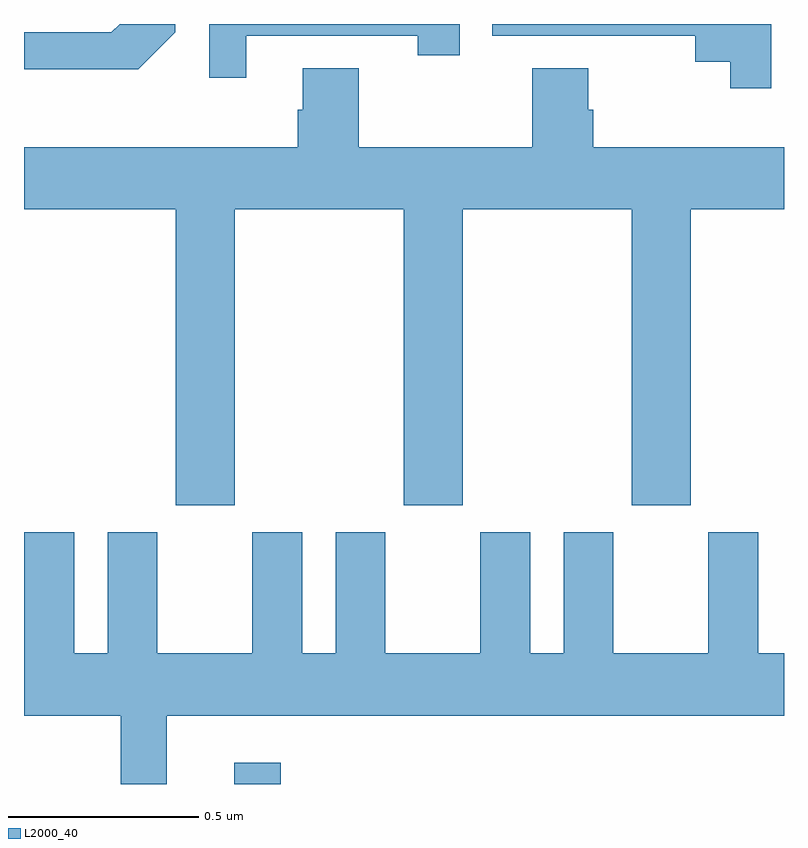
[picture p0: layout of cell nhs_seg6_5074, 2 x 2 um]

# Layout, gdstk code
import gdstk
lib = gdstk.Library(unit=1e-6, precision=1e-09)
def R(c, l, rs):  # rectangles x0, y0, x1, y1
    for r in rs: c.add(gdstk.rectangle(r[:2], r[2:], *l))
def P(c, l, *ps):  # polygons
    for p in ps: c.add(gdstk.Polygon(p, *l))
L2000_40 = (2000, 40)

nhs_seg6_5074 = lib.new_cell('nhs_seg6_5074')
R(nhs_seg6_5074, L2000_40, [(178.553,936.5,178.675,936.556)])
P(nhs_seg6_5074, L2000_40, [(178.398,938.478),(178.398,938.5),(178.252,938.5),(178.23,938.478),(178,938.478),(178,938.381),(178.3,938.381)],
  [(178.585,938.469),(179.036,938.469),(179.036,938.418),(179.147,938.418),(179.147,938.5),(178.488,938.5),(178.488,938.358),(178.585,938.358)],
  [(179.967,938.499),(179.862,938.499),(179.862,938.5),(179.232,938.5),(179.232,938.469),(179.766,938.469),(179.766,938.401),(179.859,938.401),(179.859,938.331),(179.967,938.331)],
  [(178.554,938.012),(178.999,938.012),(178.999,937.233),(179.154,937.233),(179.154,938.012),(179.599,938.012),(179.599,937.233),(179.754,937.233),(179.754,938.012),(180,938.012),(180,938.176),(179.498,938.176),(179.498,938.274),(179.485,938.274),(179.485,938.384),(179.338,938.384),(179.338,938.176),(178.881,938.176),(178.881,938.384),(178.733,938.384),(178.733,938.274),(178.721,938.274),(178.721,938.176),(178,938.176),(178,938.012),(178.399,938.012),(178.399,937.233),(178.554,937.233)],
  [(178.375,936.68),(180,936.68),(180,936.844),(179.932,936.844),(179.932,937.162),(179.801,937.162),(179.801,936.844),(179.551,936.844),(179.551,937.162),(179.42,937.162),(179.42,936.844),(179.332,936.844),(179.332,937.162),(179.201,937.162),(179.201,936.844),(178.951,936.844),(178.951,937.162),(178.82,937.162),(178.82,936.844),(178.732,936.844),(178.732,937.162),(178.601,937.162),(178.601,936.844),(178.351,936.844),(178.351,937.162),(178.22,937.162),(178.22,936.844),(178.132,936.844),(178.132,937.162),(178,937.162),(178,936.68),(178.254,936.68),(178.254,936.5),(178.375,936.5)])

lib.write_gds('nhs_seg6_5074.gds')
